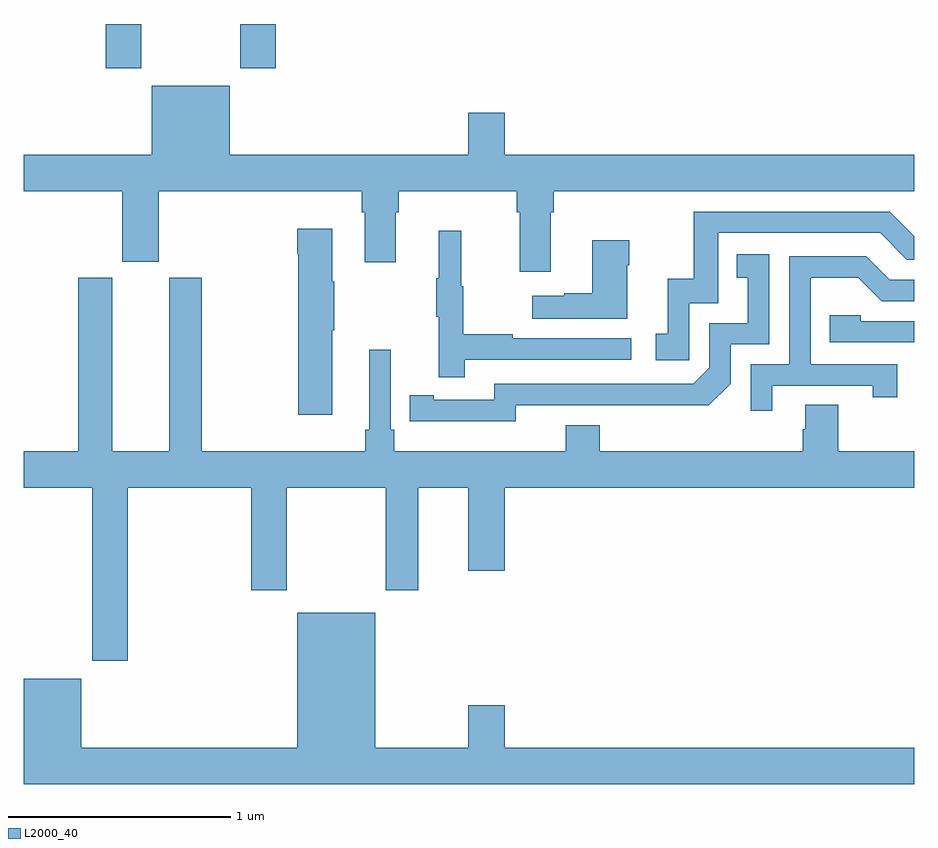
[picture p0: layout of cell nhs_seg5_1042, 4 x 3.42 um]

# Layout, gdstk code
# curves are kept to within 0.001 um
import gdstk
lib = gdstk.Library(unit=1e-6, precision=1e-09)
def R(c, l, rs):  # rectangles x0, y0, x1, y1
    for r in rs: c.add(gdstk.rectangle(r[:2], r[2:], *l))
def P(c, l, *ps):  # polygons
    for p in ps: c.add(gdstk.Polygon(p, *l))
L2000_40 = (2000, 40)

nhs_seg5_1042 = lib.new_cell('nhs_seg5_1042')
R(nhs_seg5_1042, L2000_40, [(175.367,902.601,175.527,902.799), (175.972,902.601,176.132,902.799)])
P(nhs_seg5_1042, L2000_40, [(177.16,902.401),(176.996,902.401),(176.996,902.212),(175.924,902.212),(175.924,902.521),(175.574,902.521),(175.574,902.212),(175,902.212),(175,902.048),(175.442,902.048),(175.442,901.731),(175.606,901.731),(175.606,902.048),(176.519,902.048),(176.519,901.952),(176.531,901.952),(176.531,901.728),(176.671,901.728),(176.671,901.952),(176.684,901.952),(176.684,902.048),(177.215,902.048),(177.215,901.952),(177.227,901.952),(177.227,901.686),(177.367,901.686),(177.367,901.952),(177.38,901.952),(177.38,902.048),(179,902.048),(179,902.212),(177.16,902.212)],
  [(177.99,901.545),(178.119,901.545),(178.119,901.86),(178.848,901.86),(178.968,901.74),(179,901.74),(179,901.846),(178.89,901.956),(178.011,901.956),(178.011,901.654),(177.893,901.654),(177.893,901.407),(177.84,901.407),(177.84,901.287),(177.99,901.287)],
  [(176.386,901.423),(176.394,901.423),(176.394,901.64),(176.386,901.64),(176.386,901.879),(176.228,901.879),(176.228,901.766),(176.233,901.766),(176.233,901.044),(176.386,901.044)],
  [(176.981,901.29),(177.73,901.29),(177.73,901.386),(177.197,901.386),(177.197,901.406),(176.974,901.406),(176.974,901.62),(176.966,901.62),(176.966,901.87),(176.864,901.87),(176.864,901.657),(176.853,901.657),(176.853,901.483),(176.864,901.483),(176.864,901.212),(176.981,901.212)],
  [(177.712,901.715),(177.72,901.715),(177.72,901.828),(177.554,901.828),(177.554,901.589),(177.428,901.589),(177.428,901.579),(177.285,901.579),(177.285,901.475),(177.712,901.475)],
  [(177.21,901.086),(178.078,901.085),(178.176,901.182),(178.176,901.359),(178.35,901.359),(178.35,901.765),(178.204,901.765),(178.204,901.659),(178.253,901.659),(178.253,901.455),(178.08,901.455),(178.08,901.254),(178.008,901.182),(177.114,901.182),(177.114,901.11),(176.842,901.11),(176.842,901.13),(176.734,901.13),(176.734,901.014),(177.21,901.013)],
  [(178.363,901.173),(178.814,901.173),(178.814,901.122),(178.925,901.122),(178.925,901.269),(178.536,901.269),(178.536,901.658),(178.75,901.658),(178.854,901.554),(179,901.554),(179,901.65),(178.891,901.65),(178.786,901.755),(178.44,901.755),(178.44,901.269),(178.266,901.269),(178.266,901.062),(178.363,901.062)],
  [(175.466,900.716),(176.021,900.716),(176.021,900.255),(176.181,900.255),(176.181,900.716),(176.626,900.716),(176.626,900.255),(176.773,900.255),(176.773,900.716),(176.996,900.716),(176.996,900.342),(177.16,900.342),(177.16,900.716),(179,900.716),(179,900.88),(178.659,900.88),(178.659,901.088),(178.511,901.088),(178.511,900.978),(178.499,900.978),(178.499,900.88),(177.587,900.88),(177.587,900.997),(177.434,900.997),(177.434,900.88),(176.663,900.88),(176.663,900.976),(176.649,900.976),(176.649,901.336),(176.552,901.336),(176.552,900.976),(176.533,900.976),(176.533,900.88),(175.8,900.88),(175.8,901.659),(175.652,901.659),(175.652,900.88),(175.396,900.88),(175.396,901.659),(175.244,901.659),(175.244,900.88),(175,900.88),(175,900.716),(175.306,900.716),(175.306,899.937),(175.466,899.937)],
  [(179,901.464),(178.761,901.464),(178.761,901.491),(178.621,901.491),(178.621,901.368),(179,901.368)],
  [(179,899.548),(177.16,899.548),(177.16,899.737),(176.996,899.737),(176.996,899.548),(176.578,899.548),(176.578,900.154),(176.228,900.154),(176.228,899.548),(175.258,899.548),(175.258,899.857),(175,899.857),(175,899.384),(179,899.384)])

lib.write_gds('nhs_seg5_1042.gds')
